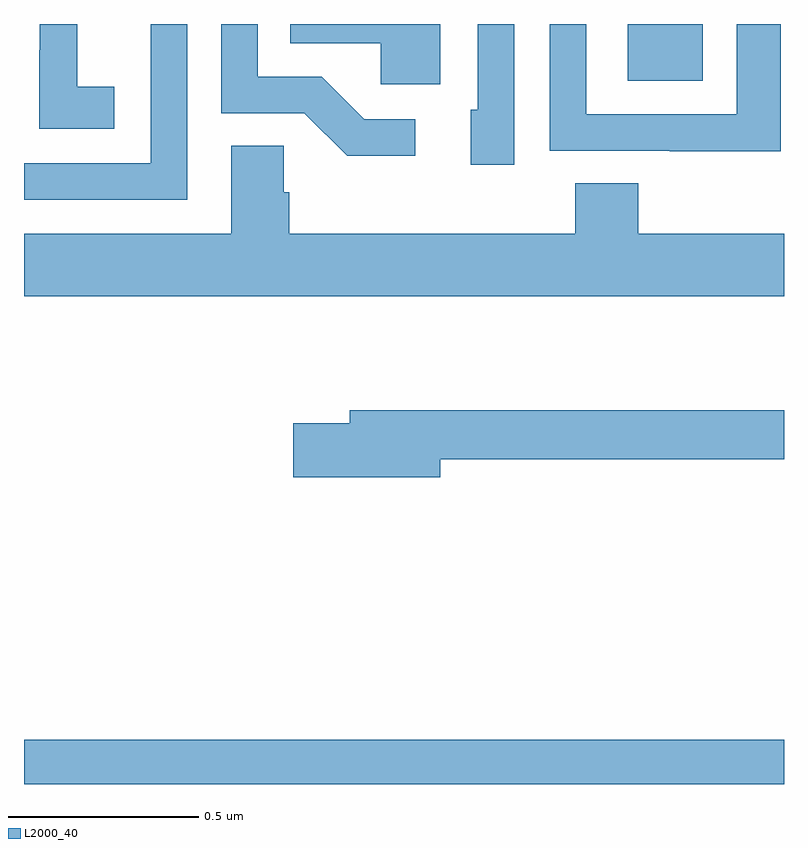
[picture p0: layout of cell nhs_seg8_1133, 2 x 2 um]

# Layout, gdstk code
import gdstk
lib = gdstk.Library(unit=1e-6, precision=1e-09)
def R(c, l, rs):  # rectangles x0, y0, x1, y1
    for r in rs: c.add(gdstk.rectangle(r[:2], r[2:], *l))
def P(c, l, *ps):  # polygons
    for p in ps: c.add(gdstk.Polygon(p, *l))
L2000_40 = (2000, 40)

nhs_seg8_1133 = lib.new_cell('nhs_seg8_1133')
R(nhs_seg8_1133, L2000_40, [(126,1097.9,128,1098.016), (127.589,1099.751,127.786,1099.9)])
P(nhs_seg8_1133, L2000_40, [(126.429,1099.9),(126.333,1099.9),(126.333,1099.533),(126,1099.533),(126,1099.437),(126.429,1099.437)],
  [(127.29,1099.9),(127.194,1099.9),(127.194,1099.674),(127.175,1099.674),(127.175,1099.53),(127.29,1099.53)],
  [(127.096,1099.9),(126.7,1099.9),(126.7,1099.85),(126.939,1099.85),(126.939,1099.742),(127.096,1099.742)],
  [(127.03,1099.65),(126.895,1099.65),(126.784,1099.761),(126.615,1099.761),(126.615,1099.9),(126.519,1099.9),(126.519,1099.665),(126.738,1099.665),(126.851,1099.553),(127.03,1099.553)],
  [(127.991,1099.9),(127.875,1099.9),(127.875,1099.662),(127.479,1099.662),(127.479,1099.9),(127.383,1099.9),(127.383,1099.566),(127.699,1099.566),(127.699,1099.565),(127.991,1099.565)],
  [(126.238,1099.735),(126.14,1099.735),(126.14,1099.9),(126.041,1099.9),(126.041,1099.831),(126.04,1099.831),(126.04,1099.625),(126.238,1099.625)],
  [(128,1099.348),(127.616,1099.348),(127.616,1099.481),(127.451,1099.481),(127.451,1099.348),(126.698,1099.348),(126.698,1099.457),(126.684,1099.457),(126.684,1099.58),(126.545,1099.58),(126.545,1099.348),(126,1099.348),(126,1099.184),(128,1099.184)],
  [(127.096,1098.754),(128,1098.754),(128,1098.883),(126.857,1098.883),(126.857,1098.849),(126.708,1098.849),(126.708,1098.707),(127.096,1098.707)])

lib.write_gds('nhs_seg8_1133.gds')
